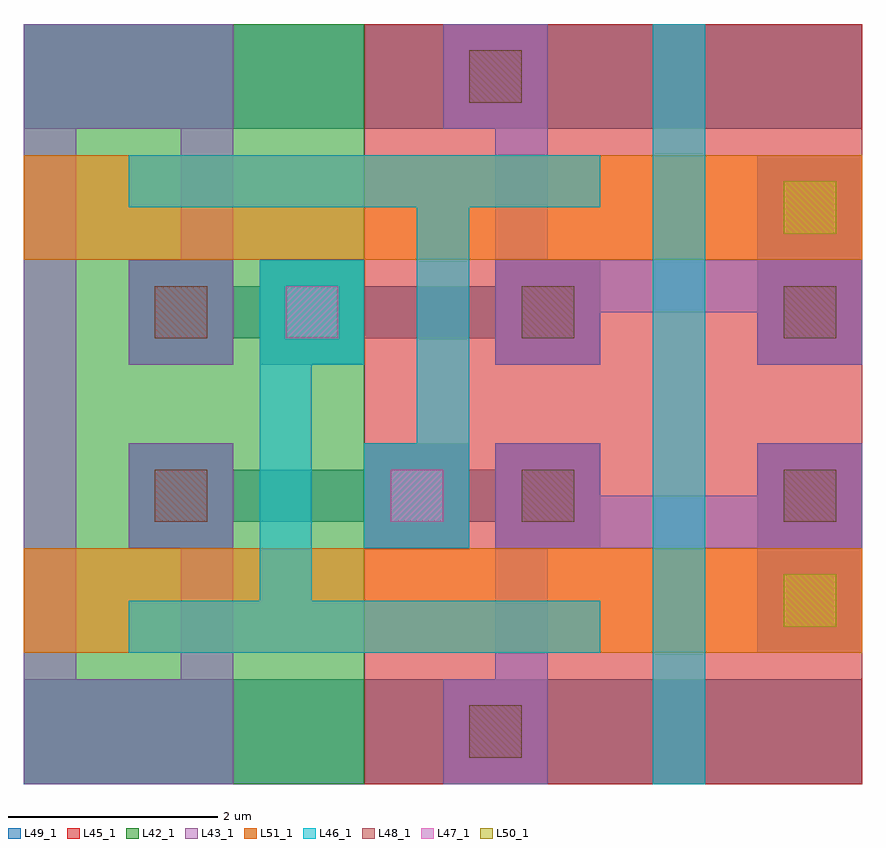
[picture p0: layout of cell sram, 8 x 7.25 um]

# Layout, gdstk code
import gdstk
lib = gdstk.Library(unit=1e-6, precision=2.5e-10)
def R(c, l, rs):  # rectangles x0, y0, x1, y1
    for r in rs: c.add(gdstk.rectangle(r[:2], r[2:], *l))
L42_1 = (42, 1)
L43_1 = (43, 1)
L45_1 = (45, 1)
L46_1 = (46, 1)
L47_1 = (47, 1)
L48_1 = (48, 1)
L49_1 = (49, 1)
L50_1 = (50, 1)
L51_1 = (51, 1)

sram = lib.new_cell('sram')
R(sram, L42_1, [(0,0,3.25,7.25)])
R(sram, L43_1, [(0,0,2,1), (4,0,5,1), (0,1,0.5,6.25), (1.5,1,2,2.25), (4.5,1,5,2.25), (7,1.25,8,2.25), (1,2.25,2,3.25), (4.5,2.25,8,2.75), (4.5,2.75,5.5,3.25), (7,2.75,8,3.25), (0,3.25,0.5,4), (0,3.25,0.5,4), (1,4,2,5), (4.5,4,5.5,4.5), (7,4,8,4.5), (4.5,4.5,8,5), (1.5,5,2,6.25), (4.5,5,5,6.25), (7,5,8,6), (0,6.25,2,7.25), (0.25,6.25,0.75,7.25), (4,6.25,5,7.25)])
R(sram, L45_1, [(3.25,0,8,7.25)])
R(sram, L46_1, [(6,0,6.5,7.25), (1,1.25,5.5,1.75), (2.25,1.75,2.75,4), (3.25,2.25,4.25,3.25), (3.75,3.25,4.25,5.5), (6,3.25,6.5,4), (6,3.25,6.5,4), (2.25,4,3.25,5), (1,5.5,5.5,6), (6,6.25,6.5,7.25)])
R(sram, L47_1, [(3.5,2.5,4,3), (2.5,4.25,3,4.75)])
R(sram, L48_1, [(4.25,0.25,4.75,0.75), (1.25,2.5,1.75,3), (1.25,2.5,1.75,3), (4.75,2.5,5.25,3), (7.25,2.5,7.75,3), (1.25,4.25,1.75,4.75), (1.25,4.25,1.75,4.75), (4.75,4.25,5.25,4.75), (7.25,4.25,7.75,4.75), (4.25,6.5,4.75,7)])
R(sram, L49_1, [(0,0,8,1), (6,0,6.5,1), (6,0,6.5,1), (6,0,6.5,1), (7,1.25,8,3.25), (1,2.25,2,3.25), (1,2.25,2,3.25), (1,2.25,2,3.25), (1,2.25,2,2.5), (3.25,2.25,4.25,2.5), (4.5,2.25,5.5,2.5), (1,2.5,5.5,3), (1,3,2,3.25), (3.25,3,4.25,3.25), (4.5,3,5.5,3.25), (1,4,2,5), (1,4,2,5), (1,4,2,5), (1,4,2,4.25), (2.25,4,3.25,4.25), (4.5,4,5.5,4.25), (7,4,8,6), (1,4.25,5.5,4.75), (1,4.75,2,5), (2.25,4.75,3.25,5), (4.5,4.75,5.5,5), (0,6.25,8,7.25), (6,6.25,6.5,7.25), (6,6.25,6.5,7.25), (6,6.25,6.5,7.25)])
R(sram, L50_1, [(7.25,1.5,7.75,2), (7.25,5.25,7.75,5.75)])
R(sram, L51_1, [(0,1.25,8,2.25), (0.25,1.25,0.75,2.25), (0,5,8,6), (0.25,5,0.75,6)])

lib.write_gds('sram.gds')
